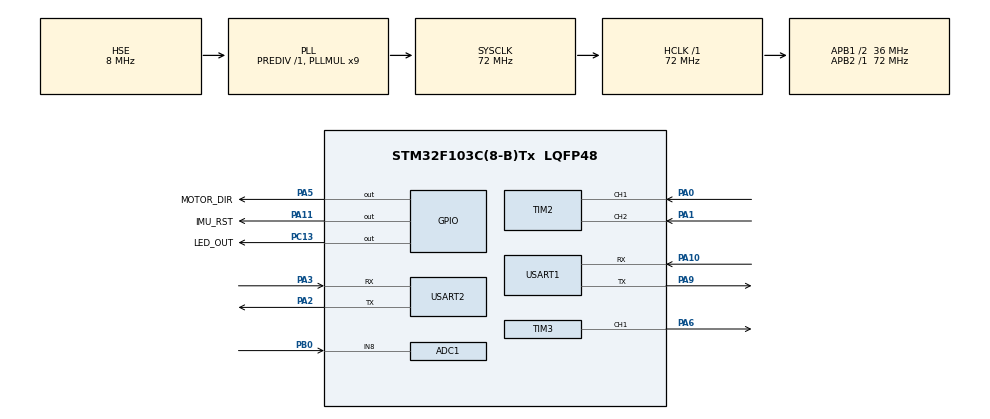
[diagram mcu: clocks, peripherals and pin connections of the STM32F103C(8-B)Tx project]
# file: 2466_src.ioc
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ADC1.Channel-3\#ChannelRegularConversion=ADC_CHANNEL_8
ADC1.ContinuousConvMode=ENABLE
ADC1.NbrOfConversionFlag=1
ADC1.Rank-3\#ChannelRegularConversion=1
ADC1.SamplingTime-3\#ChannelRegularConversion=ADC_SAMPLETIME_1CYCLE_5
ADC1.master=1
Mcu.Family=STM32F1
Mcu.Name=STM32F103C(8-B)Tx
Mcu.Package=LQFP48
NVIC.PriorityGroup=NVIC_PRIORITYGROUP_4
NVIC.TIM1_UP_IRQn=true\:0\:0\:false\:false\:true\:true\:true\:true
NVIC.USART1_IRQn=true\:0\:0\:false\:false\:true\:true\:true\:true
PA0-WKUP.Signal=S_TIM2_CH1_ETR
PA1.Signal=S_TIM2_CH2
PA10.Mode=Asynchronous
PA10.Signal=USART1_RX
PA11.GPIO_Label=IMU_RST
PA11.Signal=GPIO_Output
PA13.Mode=Serial_Wire
PA13.Signal=SYS_JTMS-SWDIO
PA14.Mode=Serial_Wire
PA14.Signal=SYS_JTCK-SWCLK
PA2.Mode=Asynchronous
PA2.Signal=USART2_TX
PA3.Mode=Asynchronous
PA3.Signal=USART2_RX
PA5.GPIO_Label=MOTOR_DIR
PA5.Signal=GPIO_Output
PA6.Signal=S_TIM3_CH1
PA9.Mode=Asynchronous
PA9.Signal=USART1_TX
PB0.Signal=ADCx_IN8
PC13-TAMPER-RTC.GPIO_Label=LED_OUT
PC13-TAMPER-RTC.Signal=GPIO_Output
PC14-OSC32_IN.Mode=LSE-External-Oscillator
PC14-OSC32_IN.Signal=RCC_OSC32_IN
PC15-OSC32_OUT.Mode=LSE-External-Oscillator
PC15-OSC32_OUT.Signal=RCC_OSC32_OUT
PD0-OSC_IN.Mode=HSE-External-Oscillator
PD0-OSC_IN.Signal=RCC_OSC_IN
PD1-OSC_OUT.Mode=HSE-External-Oscillator
PD1-OSC_OUT.Signal=RCC_OSC_OUT
ProjectManager.HeapSize=0x200
ProjectManager.StackSize=0x400
ProjectManager.TargetToolchain=STM32CubeIDE
RCC.ADCPresc=RCC_ADCPCLK2_DIV6
RCC.AHBFreq_Value=72000000
RCC.APB1CLKDivider=RCC_HCLK_DIV2
RCC.APB1Freq_Value=36000000
RCC.APB1TimFreq_Value=72000000
RCC.APB2Freq_Value=72000000
RCC.APB2TimFreq_Value=72000000
RCC.HCLKFreq_Value=72000000
RCC.PLLMUL=RCC_PLL_MUL9
RCC.PLLSourceVirtual=RCC_PLLSOURCE_HSE
RCC.SYSCLKFreq_VALUE=72000000
RCC.SYSCLKSource=RCC_SYSCLKSOURCE_PLLCLK
RCC.USBFreq_Value=72000000
SH.ADCx_IN8.0=ADC1_IN8,IN8
SH.S_TIM2_CH1_ETR.0=TIM2_CH1,Encoder_Interface
SH.S_TIM2_CH2.0=TIM2_CH2,Encoder_Interface
SH.S_TIM3_CH1.0=TIM3_CH1,PWM Generation1 CH1
TIM1.Period=400-1
TIM1.Prescaler=72-1
TIM3.Channel-PWM\ Generation1\ CH1=TIM_CHANNEL_1
TIM3.Period=2000-1
TIM3.Prescaler=72-1
USART1.VirtualMode=VM_ASYNC
USART2.VirtualMode=VM_ASYNC
VP_TIM1_VS_ClockSourceINT.Mode=Internal
board=custom

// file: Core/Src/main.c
/* USER CODE BEGIN Header */
/**
  ******************************************************************************
  * @file           : main.c
  * @brief          : Main program body
  ******************************************************************************
  * @attention
  *
  * Copyright (c) 2025 STMicroelectronics.
  * All rights reserved.
  *
  * This software is licensed under terms that can be found in the LICENSE file
  * in the root directory of this software component.
  * If no LICENSE file comes with this software, it is provided AS-IS.
  *
  ******************************************************************************
  */
/* USER CODE END Header */
#include "main.h"

/* USER CODE BEGIN Includes */

#include "debug_io.h"
#include "fsm.h"
#include "control.h"

#include <stdio.h>

/* USER CODE END Includes */

/* USER CODE BEGIN PD */

#define LED_BLINK_PATTERN_LENGTH 8U
#define LED_NORMAL_BLINK_PATTERN 0b01010101U // Each bit is the on/off status for one interval
#define LED_FAULT_BLINK_PATTERN  0b00000101U

#define LED_BLINK_INTERVAL 500U // milliseconds

#define NUM_DATA_FIELDS 3
#define NUM_DATA_MEASUREMENTS 1000

/* USER CODE END PD */

ADC_HandleTypeDef hadc1;

TIM_HandleTypeDef htim1;
TIM_HandleTypeDef htim2;
TIM_HandleTypeDef htim3;

UART_HandleTypeDef huart1;
UART_HandleTypeDef huart2;

/* USER CODE BEGIN PV */

FSM_state state = INIT;
volatile uint32_t dataBuffer[NUM_DATA_FIELDS][NUM_DATA_MEASUREMENTS] = {0};

volatile uint32_t accel = 0;
uint32_t loadcell = 0;
volatile uint32_t encoder_count = 0;

/* USER CODE END PV */

void SystemClock_Config(void);
static void MX_GPIO_Init(void);
static void MX_ADC1_Init(void);
static void MX_TIM1_Init(void);
static void MX_TIM2_Init(void);
static void MX_USART1_UART_Init(void);
static void MX_USART2_UART_Init(void);
static void MX_TIM3_Init(void);
/* USER CODE BEGIN PFP */

static void save_data_callback(void);

/* USER CODE END PFP */

/* USER CODE BEGIN 0 */

void HAL_TIM_PeriodElapsedCallback(TIM_HandleTypeDef* htim)
{
  if (htim == &htim1){
    save_data_callback();
  }

}

void HAL_UART_RxCpltCallback(UART_HandleTypeDef *huart)
{
    accel = CONTROL_processIMUpacket(huart);
}

/* USER CODE END 0 */

int main(void)
{
  /* USER CODE BEGIN 1 */

  uint32_t current_tick;
  // First update should be right away
  uint32_t last_blink_tick = -LED_BLINK_INTERVAL;
  uint32_t led_cycle = 0;

  /* USER CODE END 1 */

  /* MCU Configuration--------------------------------------------------------*/

  /* Reset of all peripherals, Initializes the Flash interface and the Systick. */
  HAL_Init();

  /* Configure the system clock */
  SystemClock_Config();

  /* Initialize all configured peripherals */
  MX_GPIO_Init();
  MX_ADC1_Init();
  MX_TIM1_Init();
  MX_TIM2_Init();
  MX_USART1_UART_Init();
  MX_USART2_UART_Init();
  MX_TIM3_Init();
  /* USER CODE BEGIN 2 */

  // INITIALIZATION

  DebugIO_Init(&huart2); // printf USART2

  printf("=====Begin Init=====\r\n");

  HAL_TIM_PWM_Start(&htim3, TIM_CHANNEL_1);
  CONTROL_sendMotorCmd(NEUTRAL, 0);

  if(HAL_ADCEx_Calibration_Start(&hadc1) != HAL_OK){
    Error_Handler();
  }
  HAL_ADC_Start(&hadc1);

  HAL_TIM_Encoder_Start(&htim2, TIM_CHANNEL_ALL);

  CONTROL_initIMU(&huart1); // IMU USART1

  HAL_TIM_Base_Start_IT(&htim1);
  FSM_init();

  printf("=====Begin FSM=====\r\n");

  /* USER CODE END 2 */

  /* Infinite loop */
  /* USER CODE BEGIN WHILE */
  while (1)
  {

    current_tick = HAL_GetTick();

    switch (state){

      case INIT:
        FSM_init();
        break;

      case PRE_DUT:
        FSM_pre_dut();
        break;

      case DUT:
        FSM_dut();
        break;

      case POST_DUT:
        FSM_post_dut();
        break;

      case DEINIT:
        // blocking data transmission
        // printf("=====Begin data transmission=====\r\n");
        // HAL_UART_Transmit(&huart2, (uint8_t*)dataBuffer, NUM_DATA_FIELDS*NUM_DATA_MEASUREMENTS*4, 3000);
        // printf("=====End data transmission=====\r\n");
        break;

    }

    // accel happens in USART1 interrupt at speed of IMU
    // encoder captured by TIM3 automatically, read in TIM1 interrupt
    loadcell = CONTROL_readLoadCell(&hadc1);

    // blink LED
    if (current_tick - last_blink_tick >= LED_BLINK_INTERVAL)
    {
      uint32_t led_state = 0;
      led_state = (LED_NORMAL_BLINK_PATTERN >> led_cycle) & 0x1U;
      led_cycle = (led_cycle + 1U) % LED_BLINK_PATTERN_LENGTH;
      HAL_GPIO_WritePin(LED_OUT_GPIO_Port, LED_OUT_Pin, led_state);
      last_blink_tick = current_tick;
    }

    /* USER CODE END WHILE */

  }
}

void SystemClock_Config(void)
{
  RCC_OscInitTypeDef RCC_OscInitStruct = {0};
  RCC_ClkInitTypeDef RCC_ClkInitStruct = {0};
  RCC_PeriphCLKInitTypeDef PeriphClkInit = {0};

  /** Initializes the RCC Oscillators according to the specified parameters
  * in the RCC_OscInitTypeDef structure.
  */
  RCC_OscInitStruct.OscillatorType = RCC_OSCILLATORTYPE_HSE;
  RCC_OscInitStruct.HSEState = RCC_HSE_ON;
  RCC_OscInitStruct.HSEPredivValue = RCC_HSE_PREDIV_DIV1;
  RCC_OscInitStruct.HSIState = RCC_HSI_ON;
  RCC_OscInitStruct.PLL.PLLState = RCC_PLL_ON;
  RCC_OscInitStruct.PLL.PLLSource = RCC_PLLSOURCE_HSE;
  RCC_OscInitStruct.PLL.PLLMUL = RCC_PLL_MUL9;
  if (HAL_RCC_OscConfig(&RCC_OscInitStruct) != HAL_OK)
  {
    Error_Handler();
  }

  /** Initializes the CPU, AHB and APB buses clocks
  */
  RCC_ClkInitStruct.ClockType = RCC_CLOCKTYPE_HCLK|RCC_CLOCKTYPE_SYSCLK
                              |RCC_CLOCKTYPE_PCLK1|RCC_CLOCKTYPE_PCLK2;
  RCC_ClkInitStruct.SYSCLKSource = RCC_SYSCLKSOURCE_PLLCLK;
  RCC_ClkInitStruct.AHBCLKDivider = RCC_SYSCLK_DIV1;
  RCC_ClkInitStruct.APB1CLKDivider = RCC_HCLK_DIV2;
  RCC_ClkInitStruct.APB2CLKDivider = RCC_HCLK_DIV1;

  if (HAL_RCC_ClockConfig(&RCC_ClkInitStruct, FLASH_LATENCY_2) != HAL_OK)
  {
    Error_Handler();
  }
  PeriphClkInit.PeriphClockSelection = RCC_PERIPHCLK_ADC;
  PeriphClkInit.AdcClockSelection = RCC_ADCPCLK2_DIV6;
  if (HAL_RCCEx_PeriphCLKConfig(&PeriphClkInit) != HAL_OK)
  {
    Error_Handler();
  }
}

static void MX_ADC1_Init(void)
{

  ADC_ChannelConfTypeDef sConfig = {0};

  /** Common config
  */
  hadc1.Instance = ADC1;
  hadc1.Init.ScanConvMode = ADC_SCAN_DISABLE;
  hadc1.Init.ContinuousConvMode = ENABLE;
  hadc1.Init.DiscontinuousConvMode = DISABLE;
  hadc1.Init.ExternalTrigConv = ADC_SOFTWARE_START;
  hadc1.Init.DataAlign = ADC_DATAALIGN_RIGHT;
  hadc1.Init.NbrOfConversion = 1;
  if (HAL_ADC_Init(&hadc1) != HAL_OK)
  {
    Error_Handler();
  }

  /** Configure Regular Channel
  */
  sConfig.Channel = ADC_CHANNEL_8;
  sConfig.Rank = ADC_REGULAR_RANK_1;
  sConfig.SamplingTime = ADC_SAMPLETIME_1CYCLE_5;
  if (HAL_ADC_ConfigChannel(&hadc1, &sConfig) != HAL_OK)
  {
    Error_Handler();
  }

}

static void MX_TIM1_Init(void)
{

  TIM_ClockConfigTypeDef sClockSourceConfig = {0};
  TIM_MasterConfigTypeDef sMasterConfig = {0};

  htim1.Instance = TIM1;
  htim1.Init.Prescaler = 72-1;
  htim1.Init.CounterMode = TIM_COUNTERMODE_UP;
  htim1.Init.Period = 400-1;
  htim1.Init.ClockDivision = TIM_CLOCKDIVISION_DIV1;
  htim1.Init.RepetitionCounter = 0;
  htim1.Init.AutoReloadPreload = TIM_AUTORELOAD_PRELOAD_DISABLE;
  if (HAL_TIM_Base_Init(&htim1) != HAL_OK)
  {
    Error_Handler();
  }
  sClockSourceConfig.ClockSource = TIM_CLOCKSOURCE_INTERNAL;
  if (HAL_TIM_ConfigClockSource(&htim1, &sClockSourceConfig) != HAL_OK)
  {
    Error_Handler();
  }
  sMasterConfig.MasterOutputTrigger = TIM_TRGO_RESET;
  sMasterConfig.MasterSlaveMode = TIM_MASTERSLAVEMODE_DISABLE;
  if (HAL_TIMEx_MasterConfigSynchronization(&htim1, &sMasterConfig) != HAL_OK)
  {
    Error_Handler();
  }

}

static void MX_TIM2_Init(void)
{

  TIM_Encoder_InitTypeDef sConfig = {0};
  TIM_MasterConfigTypeDef sMasterConfig = {0};

  htim2.Instance = TIM2;
  htim2.Init.Prescaler = 0;
  htim2.Init.CounterMode = TIM_COUNTERMODE_UP;
  htim2.Init.Period = 65535;
  htim2.Init.ClockDivision = TIM_CLOCKDIVISION_DIV1;
  htim2.Init.AutoReloadPreload = TIM_AUTORELOAD_PRELOAD_DISABLE;
  sConfig.EncoderMode = TIM_ENCODERMODE_TI1;
  sConfig.IC1Polarity = TIM_ICPOLARITY_RISING;
  sConfig.IC1Selection = TIM_ICSELECTION_DIRECTTI;
  sConfig.IC1Prescaler = TIM_ICPSC_DIV1;
  sConfig.IC1Filter = 0;
  sConfig.IC2Polarity = TIM_ICPOLARITY_RISING;
  sConfig.IC2Selection = TIM_ICSELECTION_DIRECTTI;
  sConfig.IC2Prescaler = TIM_ICPSC_DIV1;
  sConfig.IC2Filter = 0;
  if (HAL_TIM_Encoder_Init(&htim2, &sConfig) != HAL_OK)
  {
    Error_Handler();
  }
  sMasterConfig.MasterOutputTrigger = TIM_TRGO_RESET;
  sMasterConfig.MasterSlaveMode = TIM_MASTERSLAVEMODE_DISABLE;
  if (HAL_TIMEx_MasterConfigSynchronization(&htim2, &sMasterConfig) != HAL_OK)
  {
    Error_Handler();
  }

}

static void MX_TIM3_Init(void)
{

  TIM_MasterConfigTypeDef sMasterConfig = {0};
  TIM_OC_InitTypeDef sConfigOC = {0};

  htim3.Instance = TIM3;
  htim3.Init.Prescaler = 72-1;
  htim3.Init.CounterMode = TIM_COUNTERMODE_UP;
  htim3.Init.Period = 2000-1;
  htim3.Init.ClockDivision = TIM_CLOCKDIVISION_DIV1;
  htim3.Init.AutoReloadPreload = TIM_AUTORELOAD_PRELOAD_DISABLE;
  if (HAL_TIM_PWM_Init(&htim3) != HAL_OK)
  {
    Error_Handler();
  }
  sMasterConfig.MasterOutputTrigger = TIM_TRGO_RESET;
  sMasterConfig.MasterSlaveMode = TIM_MASTERSLAVEMODE_DISABLE;
  if (HAL_TIMEx_MasterConfigSynchronization(&htim3, &sMasterConfig) != HAL_OK)
  {
    Error_Handler();
  }
  sConfigOC.OCMode = TIM_OCMODE_PWM1;
  sConfigOC.Pulse = 0;
  sConfigOC.OCPolarity = TIM_OCPOLARITY_HIGH;
  sConfigOC.OCFastMode = TIM_OCFAST_DISABLE;
  if (HAL_TIM_PWM_ConfigChannel(&htim3, &sConfigOC, TIM_CHANNEL_1) != HAL_OK)
  {
    Error_Handler();
  }
  HAL_TIM_MspPostInit(&htim3);

}

static void MX_USART1_UART_Init(void)
{

  huart1.Instance = USART1;
  huart1.Init.BaudRate = 115200;
  huart1.Init.WordLength = UART_WORDLENGTH_8B;
  huart1.Init.StopBits = UART_STOPBITS_1;
  huart1.Init.Parity = UART_PARITY_NONE;
  huart1.Init.Mode = UART_MODE_TX_RX;
  huart1.Init.HwFlowCtl = UART_HWCONTROL_NONE;
  huart1.Init.OverSampling = UART_OVERSAMPLING_16;
  if (HAL_UART_Init(&huart1) != HAL_OK)
  {
    Error_Handler();
  }

}

static void MX_USART2_UART_Init(void)
{

  huart2.Instance = USART2;
  huart2.Init.BaudRate = 115200;
  huart2.Init.WordLength = UART_WORDLENGTH_8B;
  huart2.Init.StopBits = UART_STOPBITS_1;
  huart2.Init.Parity = UART_PARITY_NONE;
  huart2.Init.Mode = UART_MODE_TX_RX;
  huart2.Init.HwFlowCtl = UART_HWCONTROL_NONE;
  huart2.Init.OverSampling = UART_OVERSAMPLING_16;
  if (HAL_UART_Init(&huart2) != HAL_OK)
  {
    Error_Handler();
  }

}

static void MX_GPIO_Init(void)
{
  GPIO_InitTypeDef GPIO_InitStruct = {0};

  /* GPIO Ports Clock Enable */
  __HAL_RCC_GPIOC_CLK_ENABLE();
  __HAL_RCC_GPIOD_CLK_ENABLE();
  __HAL_RCC_GPIOA_CLK_ENABLE();
  __HAL_RCC_GPIOB_CLK_ENABLE();

  /*Configure GPIO pin Output Level */
  HAL_GPIO_WritePin(LED_OUT_GPIO_Port, LED_OUT_Pin, GPIO_PIN_RESET);

  /*Configure GPIO pin Output Level */
  HAL_GPIO_WritePin(GPIOA, MOTOR_DIR_Pin|IMU_RST_Pin, GPIO_PIN_RESET);

  /*Configure GPIO pin : LED_OUT_Pin */
  GPIO_InitStruct.Pin = LED_OUT_Pin;
  GPIO_InitStruct.Mode = GPIO_MODE_OUTPUT_PP;
  GPIO_InitStruct.Pull = GPIO_NOPULL;
  GPIO_InitStruct.Speed = GPIO_SPEED_FREQ_LOW;
  HAL_GPIO_Init(LED_OUT_GPIO_Port, &GPIO_InitStruct);

  /*Configure GPIO pins : MOTOR_DIR_Pin IMU_RST_Pin */
  GPIO_InitStruct.Pin = MOTOR_DIR_Pin|IMU_RST_Pin;
  GPIO_InitStruct.Mode = GPIO_MODE_OUTPUT_PP;
  GPIO_InitStruct.Pull = GPIO_NOPULL;
  GPIO_InitStruct.Speed = GPIO_SPEED_FREQ_LOW;
  HAL_GPIO_Init(GPIOA, &GPIO_InitStruct);

}

/* USER CODE BEGIN 4 */

// Called at 2.5kHz in TIM1 ISR
static void save_data_callback(void){
  static uint16_t i = 0;

  if(state == DUT){
    dataBuffer[ACCEL_DATA_IDX][i] = accel;
    dataBuffer[LOADCELL_DATA_IDX][i] = loadcell;
    dataBuffer[ENCODER_DATA_IDX][i] = CONTROL_readEncoder();

    i++;
  }

  encoder_count = CONTROL_readEncoder();

}

/* USER CODE END 4 */

void Error_Handler(void)
{
  /* USER CODE BEGIN Error_Handler_Debug */
  /* User can add his own implementation to report the HAL error return state */
  __disable_irq();
  while (1)
  {
    printf("Error Handler\r\n");
    HAL_GPIO_TogglePin(LED_OUT_GPIO_Port, LED_OUT_Pin);
    HAL_Delay(125); // milliseconds
  }
  /* USER CODE END Error_Handler_Debug */
}
